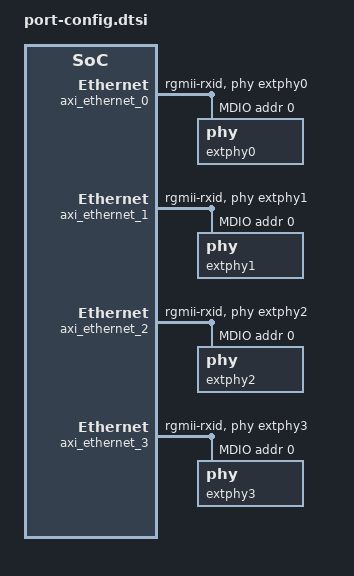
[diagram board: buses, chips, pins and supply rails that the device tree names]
// SPDX-License-Identifier: MIT
// Copyright (C) 2025-2026, Opsero Electronic Design Inc.  All rights reserved.

/*
 * Ethernet FMC port config: all 4 ports (ports-0123).
 *
 * Wires the external Ethernet FMC PHYs onto the PL AXI Ethernet cores. The
 * axi_ethernet_N nodes themselves come from the SDT's pl.dtsi (generated from
 * the XSA); this overlay adds the board knowledge the XSA does not carry: the
 * MAC address, PHY handle, MDIO bus and RGMII phy-mode for each active port.
 *
 * Selected per target by the bsp/port-configs/ports-0123 overlay layer.
 */

&axi_ethernet_0 {
	/delete-property/ xlnx,phy-type;
	local-mac-address = [00 0a 35 00 01 22];
	phy-handle = <&extphy0>;
	xlnx,has-mdio = <0x1>;
	phy-mode = "rgmii-rxid";
	mdio {
		#address-cells = <1>;
		#size-cells = <0>;
		extphy0: phy@0 {
			device_type = "ethernet-phy";
			reg = <0>;
		};
	};
};

&axi_ethernet_1 {
	/delete-property/ xlnx,phy-type;
	local-mac-address = [00 0a 35 00 01 23];
	phy-handle = <&extphy1>;
	xlnx,has-mdio = <0x1>;
	phy-mode = "rgmii-rxid";
	mdio {
		#address-cells = <1>;
		#size-cells = <0>;
		extphy1: phy@0 {
			device_type = "ethernet-phy";
			reg = <0>;
		};
	};
};

&axi_ethernet_2 {
	/delete-property/ xlnx,phy-type;
	local-mac-address = [00 0a 35 00 01 24];
	phy-handle = <&extphy2>;
	xlnx,has-mdio = <0x1>;
	phy-mode = "rgmii-rxid";
	mdio {
		#address-cells = <1>;
		#size-cells = <0>;
		extphy2: phy@0 {
			device_type = "ethernet-phy";
			reg = <0>;
		};
	};
};

&axi_ethernet_3 {
	/delete-property/ xlnx,phy-type;
	local-mac-address = [00 0a 35 00 01 25];
	phy-handle = <&extphy3>;
	xlnx,has-mdio = <0x1>;
	phy-mode = "rgmii-rxid";
	mdio {
		#address-cells = <1>;
		#size-cells = <0>;
		extphy3: phy@0 {
			device_type = "ethernet-phy";
			reg = <0>;
		};
	};
};
